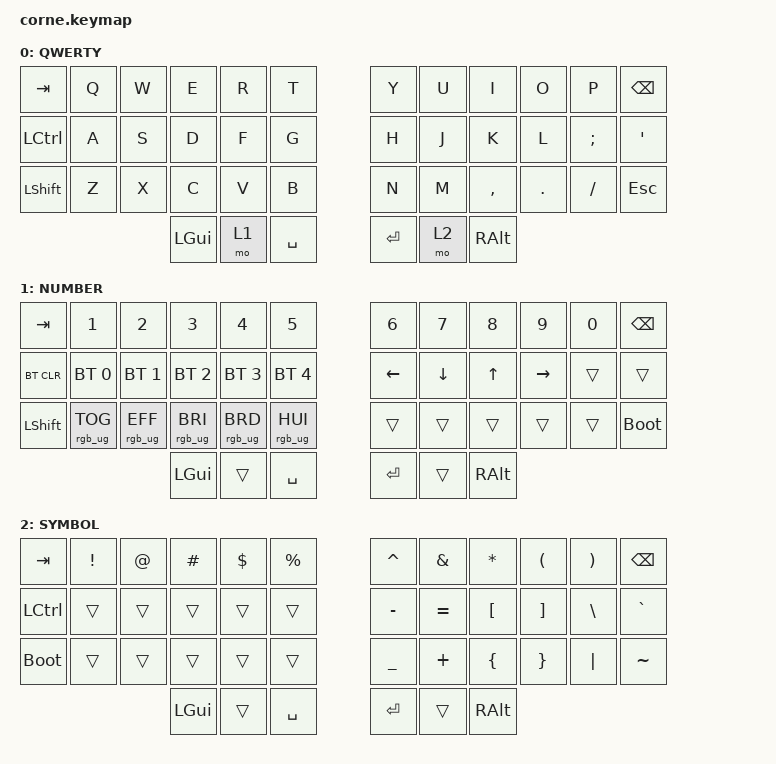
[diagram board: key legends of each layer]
#include <behaviors.dtsi>
#include <dt-bindings/zmk/keys.h>
#include <dt-bindings/zmk/bt.h>
#include <dt-bindings/zmk/rgb.h>
#include <dt-bindings/led/led.h>

/* Светодиоды: шилд corne уже описывает ленту на P0.06 для nice!nano v2,
   задаём только реальное число LED на половине Corne v3 (6 снизу + 21 под клавишами). */
&led_strip {
    chain-length = <27>;
};

/ {
    keymap {
        compatible = "zmk,keymap";

        default_layer {
            display-name = "QWERTY";
// | TAB  |  Q  |  W  |  E  |  R  |  T  |   |  Y  |  U  |  I  |  O  |  P  | BSPC |
// | CTRL |  A  |  S  |  D  |  F  |  G  |   |  H  |  J  |  K  |  L  |  ;  |  '   |
// | SHFT |  Z  |  X  |  C  |  V  |  B  |   |  N  |  M  |  ,  |  .  |  /  | ESC  |
//                    | GUI | LWR | SPC |   | ENT | RSE | ALT |
            bindings = <
   &kp TAB   &kp Q &kp W &kp E &kp R &kp T   &kp Y &kp U  &kp I     &kp O   &kp P    &kp BSPC
   &kp LCTRL &kp A &kp S &kp D &kp F &kp G   &kp H &kp J  &kp K     &kp L   &kp SEMI &kp SQT
   &kp LSHFT &kp Z &kp X &kp C &kp V &kp B   &kp N &kp M  &kp COMMA &kp DOT &kp FSLH &kp ESC
                  &kp LGUI &mo 1 &kp SPACE   &kp RET &mo 2 &kp RALT
            >;
        };

        lower_layer {
            display-name = "NUMBER";
// | TAB  |  1  |  2  |  3  |  4  |  5  |   |  6  |  7  |  8  |  9  |  0  | BSPC |
// |BTCLR | BT1 | BT2 | BT3 | BT4 | BT5 |   | LFT | DWN | UP  | RGT |     |      |
// | SHFT |RGBon| EFF | BRI+| BRI-| HUE |   |     |     |     |     |     | BOOT |
            bindings = <
   &kp TAB    &kp N1         &kp N2         &kp N3         &kp N4         &kp N5           &kp N6   &kp N7   &kp N8 &kp N9    &kp N0 &kp BSPC
   &bt BT_CLR &bt BT_SEL 0   &bt BT_SEL 1   &bt BT_SEL 2   &bt BT_SEL 3   &bt BT_SEL 4     &kp LEFT &kp DOWN &kp UP &kp RIGHT &trans &trans
   &kp LSHFT  &rgb_ug RGB_TOG &rgb_ug RGB_EFF &rgb_ug RGB_BRI &rgb_ug RGB_BRD &rgb_ug RGB_HUI   &trans   &trans   &trans &trans    &trans &bootloader     
                                   &kp LGUI &trans &kp SPACE   &kp RET &trans &kp RALT
            >;
        };

        raise_layer {
            display-name = "SYMBOL";
// | TAB  |  !  |  @  |  #  |  $  |  %  |   |  ^  |  &  |  *  |  (  |  )  | BSPC |
// | CTRL |     |     |     |     |     |   |  -  |  =  |  [  |  ]  |  \  |  `   |
// | BOOT |     |     |     |     |     |   |  _  |  +  |  {  |  }  | "|" |  ~   |
            bindings = <
   &kp TAB   &kp EXCL &kp AT &kp HASH &kp DOLLAR &kp PRCNT   &kp CARET &kp AMPS  &kp ASTRK &kp LPAR &kp RPAR &kp BSPC
   &kp LCTRL &trans   &trans &trans   &trans     &trans      &kp MINUS &kp EQUAL &kp LBKT  &kp RBKT &kp BSLH &kp GRAVE
   &bootloader &trans &trans &trans   &trans     &trans      &kp UNDER &kp PLUS  &kp LBRC  &kp RBRC &kp PIPE &kp TILDE
                          &kp LGUI &trans &kp SPACE   &kp RET &trans &kp RALT
            >;
        };
    };
};
